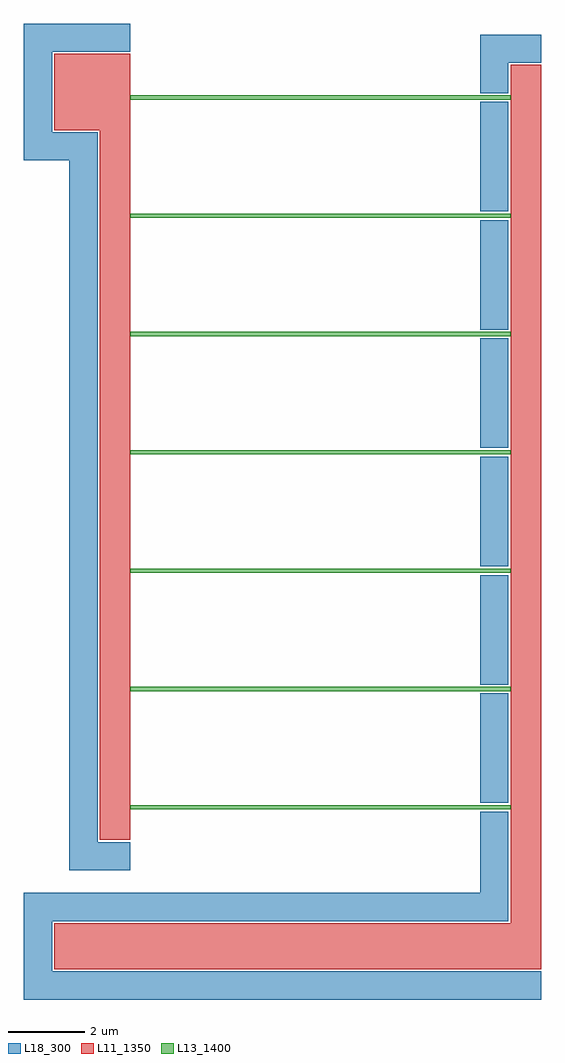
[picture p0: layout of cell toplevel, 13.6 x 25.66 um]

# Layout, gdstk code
from math import pi, radians
import gdstk
lib = gdstk.Library(unit=1e-6, precision=1e-09)
def R(c, l, rs):  # rectangles x0, y0, x1, y1
    for r in rs: c.add(gdstk.rectangle(r[:2], r[2:], *l))
def A(c, l, x, y, w, h, nx, ny, dx, dy):  # array of equal rectangles
    R(c, l, [(x+i*dx, y+j*dy, x+i*dx+w, y+j*dy+h) for i in range(nx) for j in range(ny)])
def P(c, l, *ps):  # polygons
    for p in ps: c.add(gdstk.Polygon(p, *l))
L11_1350 = (11, 1350)
L13_1400 = (13, 1400)
L18_300 = (18, 300)

rectangle014 = lib.new_cell('rectangle014')

rectangle015 = lib.new_cell('rectangle015')

arm_connector = lib.new_cell('Arm connector')
arm_connector.add(gdstk.Reference(rectangle014, (-0.8,-18.66)))
arm_connector.add(gdstk.Reference(rectangle015, (-0.8,-18.66)))

boolean016 = lib.new_cell('boolean016')

rectangle017 = lib.new_cell('rectangle017')

right_arm_connector = lib.new_cell('Right arm connector')
right_arm_connector.add(gdstk.Reference(boolean016, (10.6,-22.26), rotation=pi, x_reflection=True))
right_arm_connector.add(gdstk.Reference(rectangle017, (10.6,-22.26), rotation=pi, x_reflection=True))

arms = lib.new_cell('Arms')
arms.add(gdstk.Reference(arm_connector, (0,0)))
arms.add(gdstk.Reference(right_arm_connector, (0,0)))

rectangle = lib.new_cell('rectangle')
R(rectangle, L13_1400, [(0,0,10,0.11)])

resistive_segment = lib.new_cell('Resistive segment')
resistive_segment.add(gdstk.Reference(rectangle, (0,0)))

rectangle003 = lib.new_cell('rectangle003')
R(rectangle003, L13_1400, [(0,0,10,0.11)])

resistive_segment002 = lib.new_cell('Resistive segment002')
resistive_segment002.add(gdstk.Reference(rectangle003, (0,-3.11)))

rectangle005 = lib.new_cell('rectangle005')
R(rectangle005, L13_1400, [(0,0,10,0.11)])

resistive_segment004 = lib.new_cell('Resistive segment004')
resistive_segment004.add(gdstk.Reference(rectangle005, (0,-6.22)))

rectangle007 = lib.new_cell('rectangle007')
R(rectangle007, L13_1400, [(0,0,10,0.11)])

resistive_segment006 = lib.new_cell('Resistive segment006')
resistive_segment006.add(gdstk.Reference(rectangle007, (0,-9.33)))

rectangle009 = lib.new_cell('rectangle009')
R(rectangle009, L13_1400, [(0,0,10,0.11)])

resistive_segment008 = lib.new_cell('Resistive segment008')
resistive_segment008.add(gdstk.Reference(rectangle009, (0,-12.44)))

rectangle011 = lib.new_cell('rectangle011')
R(rectangle011, L13_1400, [(0,0,10,0.11)])

resistive_segment010 = lib.new_cell('Resistive segment010')
resistive_segment010.add(gdstk.Reference(rectangle011, (0,-15.55)))

rectangle013 = lib.new_cell('rectangle013')
R(rectangle013, L13_1400, [(0,0,10,0.11)])

resistive_segment012 = lib.new_cell('Resistive segment012')
resistive_segment012.add(gdstk.Reference(rectangle013, (0,-18.66)))

resistive_segments = lib.new_cell('Resistive segments')
resistive_segments.add(gdstk.Reference(resistive_segment, (0,0)))
resistive_segments.add(gdstk.Reference(resistive_segment002, (0,0)))
resistive_segments.add(gdstk.Reference(resistive_segment004, (0,0)))
resistive_segments.add(gdstk.Reference(resistive_segment006, (0,0)))
resistive_segments.add(gdstk.Reference(resistive_segment008, (0,0)))
resistive_segments.add(gdstk.Reference(resistive_segment010, (0,0)))
resistive_segments.add(gdstk.Reference(resistive_segment012, (0,0)))

boolean = lib.new_cell('boolean')

boolean018 = lib.new_cell('boolean018')

boolean023 = lib.new_cell('boolean023')

liftoff_undercut = lib.new_cell('Liftoff undercut')
liftoff_undercut.add(gdstk.Reference(boolean, (0,0)))
liftoff_undercut.add(gdstk.Reference(boolean018, (0,0)))
liftoff_undercut.add(gdstk.Reference(boolean023, (0,0)))

rectangle019 = lib.new_cell('rectangle019')

connector = lib.new_cell('Connector')
connector.add(gdstk.Reference(rectangle019, (0,0)))

rectangle020 = lib.new_cell('rectangle020')

top_connector = lib.new_cell('Top connector')
top_connector.add(gdstk.Reference(connector, (0,0)))
top_connector.add(gdstk.Reference(rectangle020, (0,0)))

rectangle022 = lib.new_cell('rectangle022')

connector021 = lib.new_cell('Connector021')
connector021.add(gdstk.Reference(rectangle022, (0,-22.86)))

bot_connector = lib.new_cell('Bot connector')
bot_connector.add(gdstk.Reference(connector021, (0,0)))

union = lib.new_cell('union')

union024 = lib.new_cell('union024')
P(union024, L11_1350, [(-0.8,-0.8),(-0.8,-19.46),(0,-19.46),(0,1.2),(-2,1.2),(-2,-0.8)],
  [(-2,-21.66),(-2,-22.86),(10.8,-22.86),(10.8,0.91),(10,0.91),(10,-21.66)])

boolean025 = lib.new_cell('boolean025')
A(boolean025, L18_300, 9.2, -18.49, 0.74, 2.88, 1, 6, 0, 3.11)
P(boolean025, L18_300, [(-2.06,-0.86),(-2.06,1.26),(0,1.26),(0,2),(-2.8,2),(-2.8,-1.6),(-1.6,-1.6),(-1.6,-20.26),(0,-20.26),(0,-19.52),(-0.86,-19.52),(-0.86,-0.86)],
  [(9.94,0.97),(10.8,0.97),(10.8,1.71),(9.2,1.71),(9.2,0.17),(9.94,0.17)],
  [(9.94,-18.72),(9.2,-18.72),(9.2,-20.86),(-2.8,-20.86),(-2.8,-23.66),(10.8,-23.66),(10.8,-22.92),(-2.06,-22.92),(-2.06,-21.6),(9.94,-21.6)])

toplevel = lib.new_cell('toplevel')
toplevel.add(gdstk.Reference(arms, (0,0)))
toplevel.add(gdstk.Reference(resistive_segments, (0,0)))
toplevel.add(gdstk.Reference(liftoff_undercut, (0,0)))
toplevel.add(gdstk.Reference(top_connector, (0,0)))
toplevel.add(gdstk.Reference(bot_connector, (0,0)))
toplevel.add(gdstk.Reference(union, (0,0)))
toplevel.add(gdstk.Reference(union024, (0,0)))
toplevel.add(gdstk.Reference(boolean025, (0,0)))

lib.write_gds('toplevel.gds')
